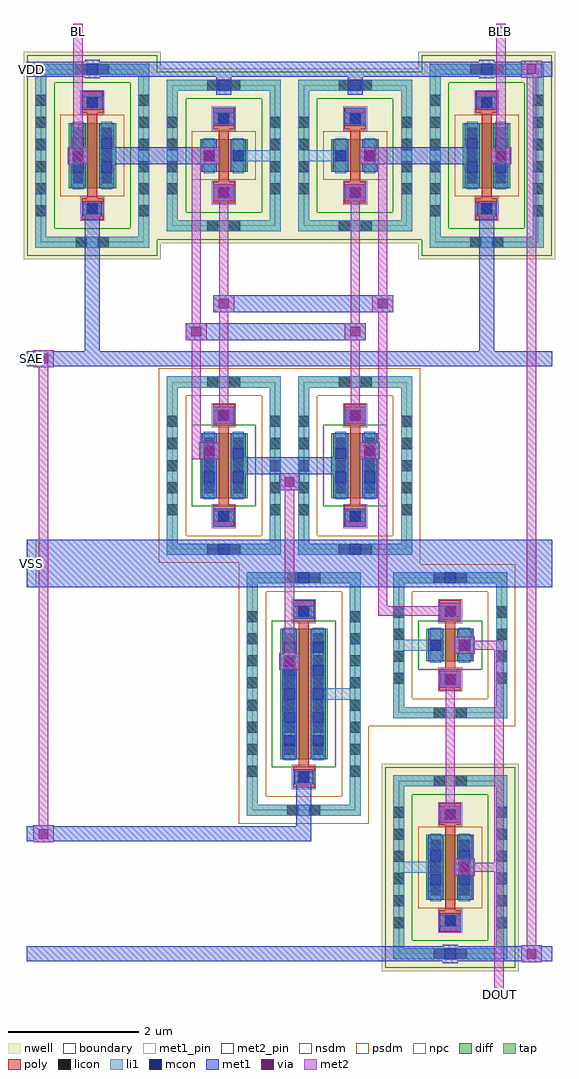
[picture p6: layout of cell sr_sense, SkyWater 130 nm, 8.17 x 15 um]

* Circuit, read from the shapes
.subckt sr_sense BL BLB DOUT SAE VDD VSS
XM1 sky130_fd_pr__nfet_01v8_NK2ZG9_5/D sky130_fd_pr__nfet_01v8_34VMYE_7/D sky130_fd_pr__nfet_01v8_34VMYE_8/D VSS sky130_fd_pr__nfet_01v8 w=1 l=0.15
XM2 VSS SAE sky130_fd_pr__nfet_01v8_NK2ZG9_5/D VSS sky130_fd_pr__nfet_01v8 w=2 l=0.15
XM3 sky130_fd_pr__nfet_01v8_34VMYE_7/D sky130_fd_pr__nfet_01v8_34VMYE_8/D sky130_fd_pr__nfet_01v8_NK2ZG9_5/D VSS sky130_fd_pr__nfet_01v8 w=1 l=0.15
XM4 DOUT sky130_fd_pr__nfet_01v8_34VMYE_7/D VSS VSS sky130_fd_pr__nfet_01v8 w=0.5 l=0.15
XM5 sky130_fd_pr__nfet_01v8_34VMYE_8/D SAE BL VDD sky130_fd_pr__pfet_01v8 w=1 l=0.15
XM6 VDD sky130_fd_pr__nfet_01v8_34VMYE_7/D sky130_fd_pr__nfet_01v8_34VMYE_8/D VDD sky130_fd_pr__pfet_01v8 w=0.5 l=0.15
XM7 sky130_fd_pr__nfet_01v8_34VMYE_7/D sky130_fd_pr__nfet_01v8_34VMYE_8/D VDD VDD sky130_fd_pr__pfet_01v8 w=0.5 l=0.15
XM8 DOUT sky130_fd_pr__nfet_01v8_34VMYE_7/D VDD VDD sky130_fd_pr__pfet_01v8 w=1 l=0.15
XM9 BLB SAE sky130_fd_pr__nfet_01v8_34VMYE_7/D VDD sky130_fd_pr__pfet_01v8 w=1 l=0.15
.ends

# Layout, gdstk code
from math import pi, radians
import gdstk
lib = gdstk.Library(unit=1e-6, precision=1e-09)
def R(c, l, rs):  # rectangles x0, y0, x1, y1
    for r in rs: c.add(gdstk.rectangle(r[:2], r[2:], *l))
def A(c, l, x, y, w, h, nx, ny, dx, dy):  # array of equal rectangles
    R(c, l, [(x+i*dx, y+j*dy, x+i*dx+w, y+j*dy+h) for i in range(nx) for j in range(ny)])
nwell = (64, 20)
diff = (65, 20)
tap = (65, 44)
poly = (66, 20)
licon = (66, 44)
li1 = (67, 20)
mcon = (67, 44)
met1_pin = (68, 16)
met1 = (68, 20)
via = (68, 44)
met2_pin = (69, 16)
met2 = (69, 20)
nsdm = (93, 44)
psdm = (94, 20)
npc = (95, 20)
boundary = (235, 4)

sky130_fd_pr__pfet_01v8_ = lib.new_cell('sky130_fd_pr__pfet_01v8_7HN6Y2')
R(sky130_fd_pr__pfet_01v8_, nwell, [(-1.055,-1.595,1.055,1.595)])
R(sky130_fd_pr__pfet_01v8_, diff, [(-0.365,-0.5,0.365,0.5)])
R(sky130_fd_pr__pfet_01v8_, tap, [(-0.875,-1.415,0.875,-1.245), (-0.875,-1.245,-0.705,1.245), (0.705,-1.245,0.875,1.245), (-0.875,1.245,0.875,1.415)])
R(sky130_fd_pr__pfet_01v8_, poly, [(-0.165,-0.985,0.165,-0.655), (-0.075,-0.655,0.075,0.655), (-0.165,0.655,0.165,0.985)])
A(sky130_fd_pr__pfet_01v8_, licon, -0.875, -0.935, 0.17, 0.17, 1, 6, 0, 0.34)
A(sky130_fd_pr__pfet_01v8_, licon, 0.705, -0.935, 0.17, 0.17, 1, 6, 0, 0.34)
A(sky130_fd_pr__pfet_01v8_, licon, -0.305, -0.425, 0.17, 0.17, 1, 3, 0, 0.34)
A(sky130_fd_pr__pfet_01v8_, licon, 0.135, -0.425, 0.17, 0.17, 1, 3, 0, 0.34)
R(sky130_fd_pr__pfet_01v8_, licon, [(-0.255,-1.415,-0.085,-1.245), (0.085,-1.415,0.255,-1.245), (-0.085,-0.905,0.085,-0.735), (-0.085,0.735,0.085,0.905), (-0.255,1.245,-0.085,1.415), (0.085,1.245,0.255,1.415)])
R(sky130_fd_pr__pfet_01v8_, li1, [(-0.875,-1.415,0.875,-1.245), (-0.875,-1.245,-0.705,1.245), (0.705,-1.245,0.875,1.245), (-0.165,-0.905,0.165,-0.735), (-0.305,-0.52,-0.135,0.52), (0.135,-0.52,0.305,0.52), (-0.165,0.735,0.165,0.905), (-0.875,1.245,0.875,1.415)])
R(sky130_fd_pr__pfet_01v8_, mcon, [(-0.085,-0.905,0.085,-0.735), (-0.305,-0.265,-0.135,-0.095), (0.135,-0.265,0.305,-0.095), (-0.305,0.095,-0.135,0.265), (0.135,0.095,0.305,0.265), (-0.085,0.735,0.085,0.905)])
R(sky130_fd_pr__pfet_01v8_, met1, [(-0.145,-0.935,0.145,-0.705), (-0.335,-0.5,-0.105,0.5), (0.105,-0.5,0.335,0.5), (-0.145,0.705,0.145,0.935)])
R(sky130_fd_pr__pfet_01v8_, nsdm, [(-1,-1.54,1,-1.12), (-1,-1.12,-0.58,1.12), (0.58,-1.12,1,1.12), (-1,1.12,1,1.54)])
R(sky130_fd_pr__pfet_01v8_, psdm, [(-0.49,-0.625,0.49,0.625)])
R(sky130_fd_pr__pfet_01v8_, npc, [(-0.185,-1.005,0.185,-0.635), (-0.185,0.635,0.185,1.005)])
R(sky130_fd_pr__pfet_01v8_, boundary, [(-0.79,-1.33,0.79,1.33)])
sky130_fd_pr__pfet_01v8_.add(gdstk.Label('B', (0,-1.33), layer=67, texttype=5))
sky130_fd_pr__pfet_01v8_.add(gdstk.Label('D', (-0.22,0), layer=67, texttype=5))
sky130_fd_pr__pfet_01v8_.add(gdstk.Label('S', (0.22,0), layer=67, texttype=5))
sky130_fd_pr__pfet_01v8_.add(gdstk.Label('G', (0,0.82), layer=67, texttype=5))

c_sky130_fd_pr__pfet_01v8_ = lib.new_cell('sky130_fd_pr__pfet_01v8_2H7JD5')
R(c_sky130_fd_pr__pfet_01v8_, nwell, [(-1.055,-1.345,1.055,1.345)])
R(c_sky130_fd_pr__pfet_01v8_, diff, [(-0.365,-0.25,0.365,0.25)])
R(c_sky130_fd_pr__pfet_01v8_, tap, [(-0.875,-1.165,0.875,-0.995), (-0.875,-0.995,-0.705,0.995), (0.705,-0.995,0.875,0.995), (-0.875,0.995,0.875,1.165)])
R(c_sky130_fd_pr__pfet_01v8_, poly, [(-0.165,-0.735,0.165,-0.405), (-0.075,-0.405,0.075,0.405), (-0.165,0.405,0.165,0.735)])
A(c_sky130_fd_pr__pfet_01v8_, licon, -0.875, -0.595, 0.17, 0.17, 1, 4, 0, 0.34)
A(c_sky130_fd_pr__pfet_01v8_, licon, 0.705, -0.595, 0.17, 0.17, 1, 4, 0, 0.34)
R(c_sky130_fd_pr__pfet_01v8_, licon, [(-0.255,-1.165,-0.085,-0.995), (0.085,-1.165,0.255,-0.995), (-0.085,-0.655,0.085,-0.485), (-0.305,-0.085,-0.135,0.085), (0.135,-0.085,0.305,0.085), (-0.085,0.485,0.085,0.655), (-0.255,0.995,-0.085,1.165), (0.085,0.995,0.255,1.165)])
R(c_sky130_fd_pr__pfet_01v8_, li1, [(-0.875,-1.165,0.875,-0.995), (-0.875,-0.995,-0.705,0.995), (0.705,-0.995,0.875,0.995), (-0.165,-0.655,0.165,-0.485), (-0.305,-0.27,-0.135,0.27), (0.135,-0.27,0.305,0.27), (-0.165,0.485,0.165,0.655), (-0.875,0.995,0.875,1.165)])
R(c_sky130_fd_pr__pfet_01v8_, mcon, [(-0.085,-0.655,0.085,-0.485), (-0.305,-0.085,-0.135,0.085), (0.135,-0.085,0.305,0.085), (-0.085,0.485,0.085,0.655)])
R(c_sky130_fd_pr__pfet_01v8_, met1, [(-0.145,-0.685,0.145,-0.455), (-0.335,-0.25,-0.105,0.25), (0.105,-0.25,0.335,0.25), (-0.145,0.455,0.145,0.685)])
R(c_sky130_fd_pr__pfet_01v8_, nsdm, [(-1,-1.29,1,-0.87), (-1,-0.87,-0.58,0.87), (0.58,-0.87,1,0.87), (-1,0.87,1,1.29)])
R(c_sky130_fd_pr__pfet_01v8_, psdm, [(-0.49,-0.375,0.49,0.375)])
R(c_sky130_fd_pr__pfet_01v8_, npc, [(-0.185,-0.755,0.185,-0.385), (-0.185,0.385,0.185,0.755)])
R(c_sky130_fd_pr__pfet_01v8_, boundary, [(-0.79,-1.08,0.79,1.08)])
c_sky130_fd_pr__pfet_01v8_.add(gdstk.Label('B', (0,-1.08), layer=67, texttype=5))
c_sky130_fd_pr__pfet_01v8_.add(gdstk.Label('D', (-0.22,0), layer=67, texttype=5))
c_sky130_fd_pr__pfet_01v8_.add(gdstk.Label('S', (0.22,0), layer=67, texttype=5))
c_sky130_fd_pr__pfet_01v8_.add(gdstk.Label('G', (0,0.57), layer=67, texttype=5))

sky130_fd_pr__nfet_01v8_ = lib.new_cell('sky130_fd_pr__nfet_01v8_NK2ZG9')
R(sky130_fd_pr__nfet_01v8_, diff, [(-0.365,-1,0.365,1)])
R(sky130_fd_pr__nfet_01v8_, tap, [(-0.875,-1.87,0.875,-1.7), (-0.875,-1.7,-0.705,1.7), (0.705,-1.7,0.875,1.7), (-0.875,1.7,0.875,1.87)])
R(sky130_fd_pr__nfet_01v8_, poly, [(-0.165,-1.44,0.165,-1.11), (-0.075,-1.11,0.075,1.11), (-0.165,1.11,0.165,1.44)])
A(sky130_fd_pr__nfet_01v8_, licon, -0.875, -1.275, 0.17, 0.17, 1, 8, 0, 0.34)
A(sky130_fd_pr__nfet_01v8_, licon, 0.705, -1.275, 0.17, 0.17, 1, 8, 0, 0.34)
A(sky130_fd_pr__nfet_01v8_, licon, -0.305, -0.935, 0.17, 0.17, 1, 6, 0, 0.34)
A(sky130_fd_pr__nfet_01v8_, licon, 0.135, -0.935, 0.17, 0.17, 1, 6, 0, 0.34)
R(sky130_fd_pr__nfet_01v8_, licon, [(-0.255,-1.87,-0.085,-1.7), (0.085,-1.87,0.255,-1.7), (-0.085,-1.36,0.085,-1.19), (-0.085,1.19,0.085,1.36), (-0.255,1.7,-0.085,1.87), (0.085,1.7,0.255,1.87)])
R(sky130_fd_pr__nfet_01v8_, li1, [(-0.875,-1.87,0.875,-1.7), (-0.875,-1.7,-0.705,1.7), (0.705,-1.7,0.875,1.7), (-0.165,-1.36,0.165,-1.19), (-0.305,-1.02,-0.135,1.02), (0.135,-1.02,0.305,1.02), (-0.165,1.19,0.165,1.36), (-0.875,1.7,0.875,1.87)])
A(sky130_fd_pr__nfet_01v8_, mcon, -0.305, -0.805, 0.17, 0.17, 1, 5, 0, 0.36)
A(sky130_fd_pr__nfet_01v8_, mcon, 0.135, -0.805, 0.17, 0.17, 1, 5, 0, 0.36)
R(sky130_fd_pr__nfet_01v8_, mcon, [(-0.085,-1.36,0.085,-1.19), (-0.085,1.19,0.085,1.36)])
R(sky130_fd_pr__nfet_01v8_, met1, [(-0.145,-1.39,0.145,-1.16), (-0.335,-1,-0.105,1), (0.105,-1,0.335,1), (-0.145,1.16,0.145,1.39)])
R(sky130_fd_pr__nfet_01v8_, nsdm, [(-0.49,-1.125,0.49,1.125)])
R(sky130_fd_pr__nfet_01v8_, psdm, [(-1,-1.995,1,-1.575), (-1,-1.575,-0.58,1.575), (0.58,-1.575,1,1.575), (-1,1.575,1,1.995)])
R(sky130_fd_pr__nfet_01v8_, npc, [(-0.185,-1.46,0.185,-1.09), (-0.185,1.09,0.185,1.46)])
R(sky130_fd_pr__nfet_01v8_, boundary, [(-0.79,-1.785,0.79,1.785)])
sky130_fd_pr__nfet_01v8_.add(gdstk.Label('B', (0,-1.785), layer=67, texttype=5))
sky130_fd_pr__nfet_01v8_.add(gdstk.Label('D', (-0.22,0), layer=67, texttype=5))
sky130_fd_pr__nfet_01v8_.add(gdstk.Label('S', (0.22,0), layer=67, texttype=5))
sky130_fd_pr__nfet_01v8_.add(gdstk.Label('G', (0,1.275), layer=67, texttype=5))

c_sky130_fd_pr__nfet_01v8_ = lib.new_cell('sky130_fd_pr__nfet_01v8_PHAC7Z')
R(c_sky130_fd_pr__nfet_01v8_, diff, [(-0.365,-0.25,0.365,0.25)])
R(c_sky130_fd_pr__nfet_01v8_, tap, [(-0.875,-1.12,0.875,-0.95), (-0.875,-0.95,-0.705,0.95), (0.705,-0.95,0.875,0.95), (-0.875,0.95,0.875,1.12)])
R(c_sky130_fd_pr__nfet_01v8_, poly, [(-0.165,-0.69,0.165,-0.36), (-0.075,-0.36,0.075,0.36), (-0.165,0.36,0.165,0.69)])
A(c_sky130_fd_pr__nfet_01v8_, licon, -0.875, -0.595, 0.17, 0.17, 1, 4, 0, 0.34)
A(c_sky130_fd_pr__nfet_01v8_, licon, 0.705, -0.595, 0.17, 0.17, 1, 4, 0, 0.34)
R(c_sky130_fd_pr__nfet_01v8_, licon, [(-0.255,-1.12,-0.085,-0.95), (0.085,-1.12,0.255,-0.95), (-0.085,-0.61,0.085,-0.44), (-0.305,-0.085,-0.135,0.085), (0.135,-0.085,0.305,0.085), (-0.085,0.44,0.085,0.61), (-0.255,0.95,-0.085,1.12), (0.085,0.95,0.255,1.12)])
R(c_sky130_fd_pr__nfet_01v8_, li1, [(-0.875,-1.12,0.875,-0.95), (-0.875,-0.95,-0.705,0.95), (0.705,-0.95,0.875,0.95), (-0.165,-0.61,0.165,-0.44), (-0.305,-0.27,-0.135,0.27), (0.135,-0.27,0.305,0.27), (-0.165,0.44,0.165,0.61), (-0.875,0.95,0.875,1.12)])
R(c_sky130_fd_pr__nfet_01v8_, mcon, [(-0.085,-0.61,0.085,-0.44), (-0.305,-0.085,-0.135,0.085), (0.135,-0.085,0.305,0.085), (-0.085,0.44,0.085,0.61)])
R(c_sky130_fd_pr__nfet_01v8_, met1, [(-0.145,-0.64,0.145,-0.41), (-0.335,-0.25,-0.105,0.25), (0.105,-0.25,0.335,0.25), (-0.145,0.41,0.145,0.64)])
R(c_sky130_fd_pr__nfet_01v8_, nsdm, [(-0.49,-0.375,0.49,0.375)])
R(c_sky130_fd_pr__nfet_01v8_, psdm, [(-1,-1.245,1,-0.825), (-1,-0.825,-0.58,0.825), (0.58,-0.825,1,0.825), (-1,0.825,1,1.245)])
R(c_sky130_fd_pr__nfet_01v8_, npc, [(-0.185,-0.71,0.185,-0.34), (-0.185,0.34,0.185,0.71)])
R(c_sky130_fd_pr__nfet_01v8_, boundary, [(-0.79,-1.035,0.79,1.035)])
c_sky130_fd_pr__nfet_01v8_.add(gdstk.Label('B', (0,-1.035), layer=67, texttype=5))
c_sky130_fd_pr__nfet_01v8_.add(gdstk.Label('D', (-0.22,0), layer=67, texttype=5))
c_sky130_fd_pr__nfet_01v8_.add(gdstk.Label('S', (0.22,0), layer=67, texttype=5))
c_sky130_fd_pr__nfet_01v8_.add(gdstk.Label('G', (0,0.525), layer=67, texttype=5))

c_sky130_fd_pr__nfet_01v8__ = lib.new_cell('sky130_fd_pr__nfet_01v8_34VMYE')
R(c_sky130_fd_pr__nfet_01v8__, diff, [(-0.365,-0.5,0.365,0.5)])
R(c_sky130_fd_pr__nfet_01v8__, tap, [(-0.875,-1.37,0.875,-1.2), (-0.875,-1.2,-0.705,1.2), (0.705,-1.2,0.875,1.2), (-0.875,1.2,0.875,1.37)])
R(c_sky130_fd_pr__nfet_01v8__, poly, [(-0.165,-0.94,0.165,-0.61), (-0.075,-0.61,0.075,0.61), (-0.165,0.61,0.165,0.94)])
A(c_sky130_fd_pr__nfet_01v8__, licon, -0.875, -0.765, 0.17, 0.17, 1, 5, 0, 0.34)
A(c_sky130_fd_pr__nfet_01v8__, licon, 0.705, -0.765, 0.17, 0.17, 1, 5, 0, 0.34)
A(c_sky130_fd_pr__nfet_01v8__, licon, -0.305, -0.425, 0.17, 0.17, 1, 3, 0, 0.34)
A(c_sky130_fd_pr__nfet_01v8__, licon, 0.135, -0.425, 0.17, 0.17, 1, 3, 0, 0.34)
R(c_sky130_fd_pr__nfet_01v8__, licon, [(-0.255,-1.37,-0.085,-1.2), (0.085,-1.37,0.255,-1.2), (-0.085,-0.86,0.085,-0.69), (-0.085,0.69,0.085,0.86), (-0.255,1.2,-0.085,1.37), (0.085,1.2,0.255,1.37)])
R(c_sky130_fd_pr__nfet_01v8__, li1, [(-0.875,-1.37,0.875,-1.2), (-0.875,-1.2,-0.705,1.2), (0.705,-1.2,0.875,1.2), (-0.165,-0.86,0.165,-0.69), (-0.305,-0.52,-0.135,0.52), (0.135,-0.52,0.305,0.52), (-0.165,0.69,0.165,0.86), (-0.875,1.2,0.875,1.37)])
R(c_sky130_fd_pr__nfet_01v8__, mcon, [(-0.085,-0.86,0.085,-0.69), (-0.305,-0.265,-0.135,-0.095), (0.135,-0.265,0.305,-0.095), (-0.305,0.095,-0.135,0.265), (0.135,0.095,0.305,0.265), (-0.085,0.69,0.085,0.86)])
R(c_sky130_fd_pr__nfet_01v8__, met1, [(-0.145,-0.89,0.145,-0.66), (-0.335,-0.5,-0.105,0.5), (0.105,-0.5,0.335,0.5), (-0.145,0.66,0.145,0.89)])
R(c_sky130_fd_pr__nfet_01v8__, nsdm, [(-0.49,-0.625,0.49,0.625)])
R(c_sky130_fd_pr__nfet_01v8__, psdm, [(-1,-1.495,1,-1.075), (-1,-1.075,-0.58,1.075), (0.58,-1.075,1,1.075), (-1,1.075,1,1.495)])
R(c_sky130_fd_pr__nfet_01v8__, npc, [(-0.185,-0.96,0.185,-0.59), (-0.185,0.59,0.185,0.96)])
R(c_sky130_fd_pr__nfet_01v8__, boundary, [(-0.79,-1.285,0.79,1.285)])
c_sky130_fd_pr__nfet_01v8__.add(gdstk.Label('B', (0,-1.285), layer=67, texttype=5))
c_sky130_fd_pr__nfet_01v8__.add(gdstk.Label('D', (-0.22,0), layer=67, texttype=5))
c_sky130_fd_pr__nfet_01v8__.add(gdstk.Label('S', (0.22,0), layer=67, texttype=5))
c_sky130_fd_pr__nfet_01v8__.add(gdstk.Label('G', (0,0.775), layer=67, texttype=5))

sr_sense = lib.new_cell('sr_sense')
R(sr_sense, li1, [(5.415,-7.59,5.585,-7.42), (4.725,-6.26,5.28,-6.09), (3.47,-3.595,4.025,-3.425), (4.725,-2.845,5.28,-2.675), (3.165,-1.81,3.335,-1.64), (5.415,-1.81,5.585,-1.64), (1.935,-1.37,2.105,-1.2), (3.955,-1.37,4.125,-1.2), (2.24,4.68,2.795,4.85), (3.265,4.68,3.82,4.85), (1.935,5.76,2.105,5.93), (3.955,5.76,4.125,5.93), (-0.085,6.01,0.085,6.18), (5.975,6.01,6.145,6.18)])
R(sr_sense, mcon, [(5.415,-7.59,5.585,-7.42), (3.165,-1.81,3.335,-1.64), (5.415,-1.81,5.585,-1.64), (1.935,-1.37,2.105,-1.2), (3.955,-1.37,4.125,-1.2), (1.935,5.76,2.105,5.93), (3.955,5.76,4.125,5.93), (-0.085,6.01,0.085,6.18), (5.975,6.01,6.145,6.18)])
R(sr_sense, met1_pin, [(-1,-1.87,-0.86,-1.14), (-1,1.53,-0.86,1.76), (-1,5.98,-0.86,6.21)])
R(sr_sense, met1, [(5.385,-7.65,5.615,-7.62), (6.59,-7.635,6.91,-7.62), (-1.01,-7.62,7.07,-7.39), (5.385,-7.39,5.615,-7.36), (6.59,-7.39,6.91,-7.375), (5.34,-7.16,5.66,-6.88), (5.56,-6.305,5.88,-6.045), (-0.91,-5.79,-0.59,-5.775), (-1.01,-5.775,3.365,-5.545), (-0.91,-5.545,-0.59,-5.53), (3.135,-5.545,3.365,-4.67), (5.34,-5.485,5.66,-5.225), (5.34,-3.415,5.66,-3.155), (2.87,-3.14,3.19,-2.88), (5.56,-2.89,5.88,-2.63), (5.34,-2.365,5.66,-2.105), (3.09,-2.35,3.41,-2.07), (-1.01,-1.87,7.07,-1.14), (1.86,-0.94,2.18,-0.66), (3.88,-0.94,4.2,-0.66), (2.87,-0.38,3.19,-0.13), (2.125,-0.13,3.935,0.13), (1.64,0.1,1.96,0.36), (4.1,0.1,4.42,0.36), (1.86,0.645,2.18,0.905), (3.88,0.645,4.2,0.905), (-0.91,1.515,-0.59,1.53), (-1.01,1.53,7.07,1.76), (-0.91,1.76,-0.59,1.775), (-0.115,1.76,0.115,4.06), (5.945,1.76,6.175,4.06), (1.435,1.93,4.2,2.19), (1.86,2.36,4.625,2.62), (1.86,4.065,2.18,4.325), (3.88,4.065,4.2,4.325), (-0.38,4.635,-0.06,4.895), (0.105,4.635,1.96,4.895), (4.1,4.635,5.955,4.895), (6.12,4.635,6.44,4.895), (1.86,5.22,2.18,5.5), (3.88,5.22,4.2,5.5), (-0.16,5.47,0.16,5.75), (5.9,5.47,6.22,5.75), (1.905,5.7,2.135,5.98), (3.925,5.7,4.155,5.98), (-0.115,5.95,0.115,5.98), (5.945,5.95,6.175,5.98), (6.59,5.965,6.91,5.98), (-1.01,5.98,7.07,6.21), (-0.115,6.21,0.115,6.24), (5.945,6.21,6.175,6.24), (6.59,6.21,6.91,6.225)])
R(sr_sense, via, [(6.675,-7.58,6.825,-7.43), (5.645,-6.25,5.795,-6.1), (-0.825,-5.735,-0.675,-5.585), (5.425,-5.43,5.575,-5.28), (5.425,-3.36,5.575,-3.21), (2.955,-3.085,3.105,-2.935), (5.645,-2.835,5.795,-2.685), (5.425,-2.31,5.575,-2.16), (2.955,-0.325,3.105,-0.175), (1.725,0.155,1.875,0.305), (4.185,0.155,4.335,0.305), (1.945,0.7,2.095,0.85), (3.965,0.7,4.115,0.85), (-0.825,1.57,-0.675,1.72), (1.52,1.985,1.67,2.135), (3.965,1.985,4.115,2.135), (1.945,2.415,2.095,2.565), (4.39,2.415,4.54,2.565), (1.945,4.12,2.095,4.27), (3.965,4.12,4.115,4.27), (-0.295,4.69,-0.145,4.84), (1.725,4.69,1.875,4.84), (4.185,4.69,4.335,4.84), (6.205,4.69,6.355,4.84), (6.675,6.02,6.825,6.17)])
R(sr_sense, met2_pin, [(6.18,-8.205,6.32,-8.065), (-0.29,6.595,-0.15,6.735), (6.21,6.595,6.35,6.735)])
R(sr_sense, met2, [(6.18,-8.205,6.32,-6.245), (6.59,-7.635,6.91,-7.375), (6.68,-7.375,6.82,5.965), (5.56,-6.305,5.88,-6.245), (5.56,-6.245,6.32,-6.105), (5.56,-6.105,5.88,-6.045), (6.18,-6.105,6.32,-2.83), (-0.91,-5.79,-0.59,-5.53), (-0.82,-5.53,-0.68,1.515), (5.34,-5.485,5.66,-5.225), (5.43,-5.225,5.57,-3.415), (5.34,-3.415,5.66,-3.155), (2.87,-3.14,3.19,-2.88), (5.56,-2.89,5.88,-2.83), (2.96,-2.88,3.1,-0.38), (5.56,-2.83,6.32,-2.69), (5.56,-2.69,5.88,-2.63), (5.34,-2.365,5.66,-2.305), (4.395,-2.305,5.66,-2.165), (4.395,-2.165,4.535,0.1), (5.34,-2.165,5.66,-2.105), (2.87,-0.38,3.19,-0.12), (1.525,0.1,1.96,0.36), (4.1,0.1,4.535,0.36), (1.525,0.36,1.665,1.93), (4.395,0.36,4.535,2.36), (1.86,0.645,2.18,0.905), (3.88,0.645,4.2,0.905), (1.95,0.905,2.09,2.36), (3.97,0.905,4.11,1.93), (-0.91,1.515,-0.59,1.775), (1.435,1.93,1.755,2.19), (3.88,1.93,4.2,2.19), (1.525,2.19,1.665,4.635), (3.97,2.19,4.11,4.065), (1.86,2.36,2.18,2.62), (4.305,2.36,4.625,2.62), (1.95,2.62,2.09,4.065), (4.395,2.62,4.535,4.635), (1.86,4.065,2.18,4.325), (3.88,4.065,4.2,4.325), (-0.38,4.635,-0.06,4.895), (1.525,4.635,1.96,4.895), (4.1,4.635,4.535,4.895), (6.12,4.635,6.44,4.895), (-0.29,4.895,-0.15,6.795), (6.21,4.895,6.35,6.795), (6.59,5.965,6.91,6.225)])
A(sr_sense, nsdm, 1, 3.475, 0.02, 2.58, 3, 1, 2.02, 0)
R(sr_sense, psdm, [(4.25,-4.005,4.5,-1.515), (2.25,-1.515,5.04,-1.495), (3.02,-1.495,3.04,1.495)])
sr_sense.add(gdstk.Reference(sky130_fd_pr__pfet_01v8_, (5.5,-6.175), rotation=pi, x_reflection=True))
sr_sense.add(gdstk.Reference(sky130_fd_pr__pfet_01v8_, (6.06,4.765)))
sr_sense.add(gdstk.Reference(sky130_fd_pr__pfet_01v8_, (0,4.765), rotation=pi, x_reflection=True))
sr_sense.add(gdstk.Reference(c_sky130_fd_pr__pfet_01v8_, (4.04,4.765), rotation=pi, x_reflection=True))
sr_sense.add(gdstk.Reference(c_sky130_fd_pr__pfet_01v8_, (2.02,4.765)))
sr_sense.add(gdstk.Reference(sky130_fd_pr__nfet_01v8_, (3.25,-3.51)))
sr_sense.add(gdstk.Reference(c_sky130_fd_pr__nfet_01v8_, (5.5,-2.76), rotation=pi, x_reflection=True))
sr_sense.add(gdstk.Reference(c_sky130_fd_pr__nfet_01v8__, (4.04,0), rotation=pi, x_reflection=True))
sr_sense.add(gdstk.Reference(c_sky130_fd_pr__nfet_01v8__, (2.02,0)))
sr_sense.add(gdstk.Label('BL', (-0.22,6.665), layer=69, texttype=5))
sr_sense.add(gdstk.Label('BLB', (6.28,6.665), layer=69, texttype=5))
sr_sense.add(gdstk.Label('SAE', (-0.93,1.645), layer=68, texttype=5))
sr_sense.add(gdstk.Label('DOUT', (6.25,-8.135), layer=69, texttype=5))
sr_sense.add(gdstk.Label('VDD', (-0.93,6.095), layer=68, texttype=5))
sr_sense.add(gdstk.Label('VSS', (-0.93,-1.505), layer=68, texttype=5))

lib.write_gds('sr_sense.gds')
